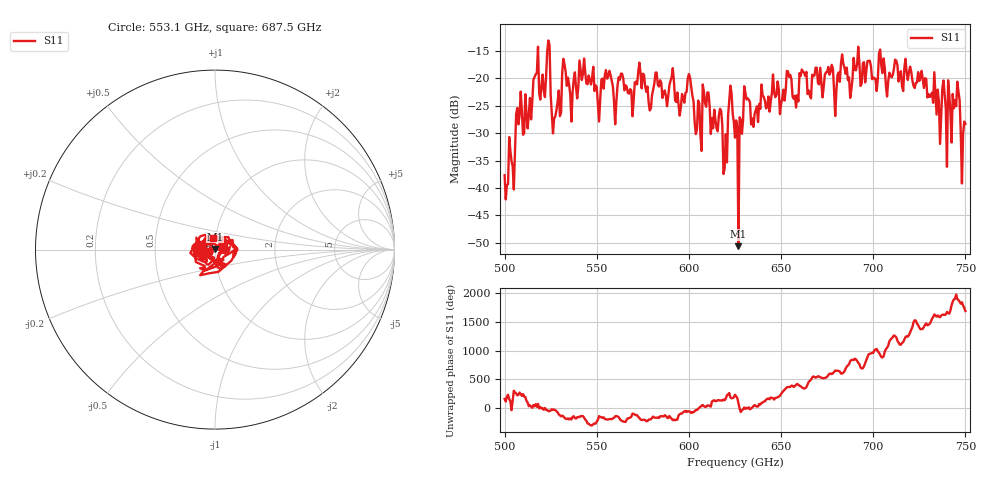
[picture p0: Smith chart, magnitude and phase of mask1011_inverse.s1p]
!Created with skrf (http://scikit-rf.org).
# GHz S MA R 50.0
!freq magS11 angS11
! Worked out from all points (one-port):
!   401 points, 500 GHz to 750 GHz, reference 50 ohm
!   lowest |S11| = -50.6 dB at 626.9 GHz (marker M1), VSWR 1.01, Z = 50 + j0.292 ohm
!   |S11| at or under -10 dB: start of sweep to end of sweep
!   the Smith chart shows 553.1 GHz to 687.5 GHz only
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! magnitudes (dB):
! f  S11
! 500 GHz  -37.7
! 504.4 GHz  -36.0
! 507.5 GHz  -28.4
! 513.8 GHz  -23.6
! 516.9 GHz  -19.3
! 520.6 GHz  -19.3
! 523.8 GHz  -13.1
! 526.9 GHz  -27.3
! 531.2 GHz  -18.9
! 562.5 GHz  -20.3
! 579.4 GHz  -25.5
! 590.6 GHz  -19.8
! 593.8 GHz  -22.6
! 600.6 GHz  -19.9
! 605.6 GHz  -24.6
! 608.8 GHz  -24.5
! 619.4 GHz  -36.4
! 622.5 GHz  -21.3
! 625 GHz  -30.8
! 626.9 GHz  -50.6
! 631.2 GHz  -23.9
! 635 GHz  -28.9
! 656.2 GHz  -23.4
! 687.5 GHz  -23.6
! 718.8 GHz  -20.3
! 741.2 GHz  -23.0
! 745.6 GHz  -20.6
! 750 GHz  -28.3
